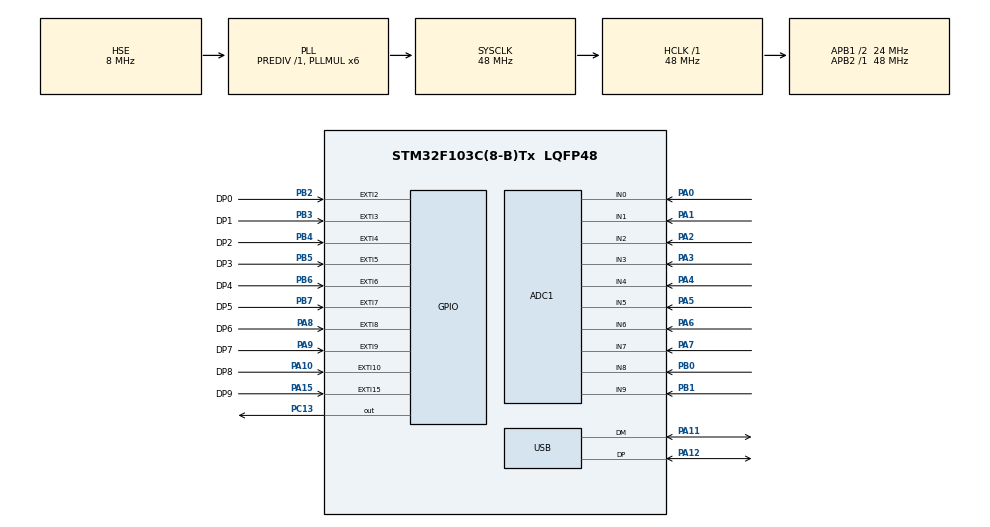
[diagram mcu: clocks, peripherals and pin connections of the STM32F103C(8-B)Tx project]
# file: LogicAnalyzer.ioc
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ADC1.Channel-10\#ChannelRegularConversion=ADC_CHANNEL_5
ADC1.Channel-11\#ChannelRegularConversion=ADC_CHANNEL_6
ADC1.Channel-12\#ChannelRegularConversion=ADC_CHANNEL_7
ADC1.Channel-13\#ChannelRegularConversion=ADC_CHANNEL_8
ADC1.Channel-14\#ChannelRegularConversion=ADC_CHANNEL_9
ADC1.Channel-5\#ChannelRegularConversion=ADC_CHANNEL_0
ADC1.Channel-6\#ChannelRegularConversion=ADC_CHANNEL_1
ADC1.Channel-7\#ChannelRegularConversion=ADC_CHANNEL_2
ADC1.Channel-8\#ChannelRegularConversion=ADC_CHANNEL_3
ADC1.Channel-9\#ChannelRegularConversion=ADC_CHANNEL_4
ADC1.ContinuousConvMode=DISABLE
ADC1.DataAlign=ADC_DATAALIGN_RIGHT
ADC1.DiscontinuousConvMode=DISABLE
ADC1.EnableAnalogWatchDog=false
ADC1.EnableRegularConversion=ENABLE
ADC1.ExternalTrigConv=ADC_SOFTWARE_START
ADC1.InjNumberOfConversion=0
ADC1.NbrOfConversion=10
ADC1.NbrOfConversionFlag=1
ADC1.Rank-10\#ChannelRegularConversion=6
ADC1.Rank-11\#ChannelRegularConversion=7
ADC1.Rank-12\#ChannelRegularConversion=8
ADC1.Rank-13\#ChannelRegularConversion=9
ADC1.Rank-14\#ChannelRegularConversion=10
ADC1.Rank-5\#ChannelRegularConversion=1
ADC1.Rank-6\#ChannelRegularConversion=2
ADC1.Rank-7\#ChannelRegularConversion=3
ADC1.Rank-8\#ChannelRegularConversion=4
ADC1.Rank-9\#ChannelRegularConversion=5
ADC1.SamplingTime-10\#ChannelRegularConversion=ADC_SAMPLETIME_7CYCLES_5
ADC1.SamplingTime-11\#ChannelRegularConversion=ADC_SAMPLETIME_1CYCLE_5
ADC1.SamplingTime-12\#ChannelRegularConversion=ADC_SAMPLETIME_1CYCLE_5
ADC1.SamplingTime-13\#ChannelRegularConversion=ADC_SAMPLETIME_1CYCLE_5
ADC1.SamplingTime-14\#ChannelRegularConversion=ADC_SAMPLETIME_1CYCLE_5
ADC1.SamplingTime-5\#ChannelRegularConversion=ADC_SAMPLETIME_7CYCLES_5
ADC1.SamplingTime-6\#ChannelRegularConversion=ADC_SAMPLETIME_7CYCLES_5
ADC1.SamplingTime-7\#ChannelRegularConversion=ADC_SAMPLETIME_7CYCLES_5
ADC1.SamplingTime-8\#ChannelRegularConversion=ADC_SAMPLETIME_7CYCLES_5
ADC1.SamplingTime-9\#ChannelRegularConversion=ADC_SAMPLETIME_7CYCLES_5
ADC1.ScanConvMode=ADC_SCAN_ENABLE
ADC1.master=1
Dma.ADC1.0.Direction=DMA_PERIPH_TO_MEMORY
Dma.ADC1.0.Instance=DMA1_Channel1
Dma.ADC1.0.MemDataAlignment=DMA_MDATAALIGN_HALFWORD
Dma.ADC1.0.MemInc=DMA_MINC_ENABLE
Dma.ADC1.0.Mode=DMA_CIRCULAR
Dma.ADC1.0.PeriphDataAlignment=DMA_PDATAALIGN_HALFWORD
Dma.ADC1.0.PeriphInc=DMA_PINC_DISABLE
Dma.ADC1.0.Priority=DMA_PRIORITY_LOW
Dma.Request0=ADC1
Mcu.Family=STM32F1
Mcu.Name=STM32F103C(8-B)Tx
Mcu.Package=LQFP48
NVIC.DMA1_Channel1_IRQn=true\:0\:0\:false\:false\:true\:false
NVIC.EXTI15_10_IRQn=true\:0\:0\:false\:false\:true\:true
NVIC.EXTI2_IRQn=true\:0\:0\:false\:false\:true\:true
NVIC.EXTI3_IRQn=true\:0\:0\:false\:false\:true\:true
NVIC.EXTI4_IRQn=true\:0\:0\:false\:false\:true\:true
NVIC.EXTI9_5_IRQn=true\:0\:0\:false\:false\:true\:true
NVIC.PriorityGroup=NVIC_PRIORITYGROUP_4
NVIC.TIM2_IRQn=true\:0\:0\:false\:false\:true\:true
NVIC.TIM3_IRQn=true\:0\:0\:false\:false\:true\:true
NVIC.USB_LP_CAN1_RX0_IRQn=true\:0\:0\:false\:false\:true\:false
PA0-WKUP.Signal=ADCx_IN0
PA1.Signal=ADCx_IN1
PA10.GPIO_Label=DP8
PA10.GPIO_ModeDefaultEXTI=GPIO_MODE_IT_RISING_FALLING
PA10.GPIO_PuPd=GPIO_PULLDOWN
PA10.Signal=GPXTI10
PA11.Mode=Device
PA11.Signal=USB_DM
PA12.Mode=Device
PA12.Signal=USB_DP
PA13.Mode=Serial_Wire
PA13.Signal=SYS_JTMS-SWDIO
PA14.Mode=Serial_Wire
PA14.Signal=SYS_JTCK-SWCLK
PA15.GPIO_Label=DP9
PA15.GPIO_ModeDefaultEXTI=GPIO_MODE_IT_RISING_FALLING
PA15.GPIO_PuPd=GPIO_PULLDOWN
PA15.Signal=GPXTI15
PA2.Signal=ADCx_IN2
PA3.Signal=ADCx_IN3
PA4.Signal=ADCx_IN4
PA5.Signal=ADCx_IN5
PA6.Signal=ADCx_IN6
PA7.Signal=ADCx_IN7
PA8.GPIO_Label=DP6
PA8.GPIO_ModeDefaultEXTI=GPIO_MODE_IT_RISING_FALLING
PA8.GPIO_PuPd=GPIO_PULLDOWN
PA8.Signal=GPXTI8
PA9.GPIO_Label=DP7
PA9.GPIO_ModeDefaultEXTI=GPIO_MODE_IT_RISING_FALLING
PA9.GPIO_PuPd=GPIO_PULLDOWN
PA9.Signal=GPXTI9
PB0.Signal=ADCx_IN8
PB1.Signal=ADCx_IN9
PB2.GPIO_Label=DP0
PB2.GPIO_ModeDefaultEXTI=GPIO_MODE_IT_RISING_FALLING
PB2.GPIO_PuPd=GPIO_PULLDOWN
PB2.Signal=GPXTI2
PB3.GPIO_Label=DP1
PB3.GPIO_ModeDefaultEXTI=GPIO_MODE_IT_RISING_FALLING
PB3.GPIO_PuPd=GPIO_PULLDOWN
PB3.Signal=GPXTI3
PB4.GPIO_Label=DP2
PB4.GPIO_ModeDefaultEXTI=GPIO_MODE_IT_RISING_FALLING
PB4.GPIO_PuPd=GPIO_PULLDOWN
PB4.Signal=GPXTI4
PB5.GPIO_Label=DP3
PB5.GPIO_ModeDefaultEXTI=GPIO_MODE_IT_RISING_FALLING
PB5.GPIO_PuPd=GPIO_PULLDOWN
PB5.Signal=GPXTI5
PB6.GPIO_Label=DP4
PB6.GPIO_ModeDefaultEXTI=GPIO_MODE_IT_RISING_FALLING
PB6.GPIO_PuPd=GPIO_PULLDOWN
PB6.Signal=GPXTI6
PB7.GPIO_Label=DP5
PB7.GPIO_ModeDefaultEXTI=GPIO_MODE_IT_RISING_FALLING
PB7.GPIO_PuPd=GPIO_PULLDOWN
PB7.Signal=GPXTI7
PC13-TAMPER-RTC.Signal=GPIO_Output
PD0-OSC_IN.Mode=HSE-External-Oscillator
PD0-OSC_IN.Signal=RCC_OSC_IN
PD1-OSC_OUT.Mode=HSE-External-Oscillator
PD1-OSC_OUT.Signal=RCC_OSC_OUT
ProjectManager.HeapSize=0x200
ProjectManager.StackSize=0x400
ProjectManager.TargetToolchain=SW4STM32
RCC.ADCPresc=RCC_ADCPCLK2_DIV4
RCC.AHBFreq_Value=48000000
RCC.APB1CLKDivider=RCC_HCLK_DIV2
RCC.APB1Freq_Value=24000000
RCC.APB1TimFreq_Value=48000000
RCC.APB2Freq_Value=48000000
RCC.APB2TimFreq_Value=48000000
RCC.HCLKFreq_Value=48000000
RCC.PLLMUL=RCC_PLL_MUL6
RCC.PLLSourceVirtual=RCC_PLLSOURCE_HSE
RCC.SYSCLKFreq_VALUE=48000000
RCC.SYSCLKSource=RCC_SYSCLKSOURCE_PLLCLK
RCC.USBFreq_Value=48000000
SH.ADCx_IN0.0=ADC1_IN0,IN0
SH.ADCx_IN1.0=ADC1_IN1,IN1
SH.ADCx_IN2.0=ADC1_IN2,IN2
SH.ADCx_IN3.0=ADC1_IN3,IN3
SH.ADCx_IN4.0=ADC1_IN4,IN4
SH.ADCx_IN5.0=ADC1_IN5,IN5
SH.ADCx_IN6.0=ADC1_IN6,IN6
SH.ADCx_IN7.0=ADC1_IN7,IN7
SH.ADCx_IN8.0=ADC1_IN8,IN8
SH.ADCx_IN9.0=ADC1_IN9,IN9
TIM2.Period=65535
TIM2.Prescaler=12
TIM3.Period=500
TIM3.Prescaler=48000
USB_DEVICE.CLASS_NAME_FS=CDC
USB_DEVICE.VirtualMode=Cdc
USB_DEVICE.VirtualModeFS=Cdc_FS
VP_TIM2_VS_ClockSourceITR.Mode=TriggerSource_ITR0
VP_TIM3_VS_ClockSourceITR.Mode=TriggerSource_ITR0
VP_USB_DEVICE_VS_USB_DEVICE_CDC_FS.Mode=CDC_FS
board=LogicAnalyzer

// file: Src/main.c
/**
  ******************************************************************************
  * @file           : main.c
  * @brief          : Main program body
  ******************************************************************************
  * This notice applies to any and all portions of this file
  * that are not between comment pairs USER CODE BEGIN and
  * USER CODE END. Other portions of this file, whether
  * inserted by the user or by software development tools
  * are owned by their respective copyright owners.
  *
  * Copyright (c) 2018 STMicroelectronics International N.V.
  * All rights reserved.
  *
  * Redistribution and use in source and binary forms, with or without
  * modification, are permitted, provided that the following conditions are met:
  *
  * 1. Redistribution of source code must retain the above copyright notice,
  *    this list of conditions and the following disclaimer.
  * 2. Redistributions in binary form must reproduce the above copyright notice,
  *    this list of conditions and the following disclaimer in the documentation
  *    and/or other materials provided with the distribution.
  * 3. Neither the name of STMicroelectronics nor the names of other
  *    contributors to this software may be used to endorse or promote products
  *    derived from this software without specific written permission.
  * 4. This software, including modifications and/or derivative works of this
  *    software, must execute solely and exclusively on microcontroller or
  *    microprocessor devices manufactured by or for STMicroelectronics.
  * 5. Redistribution and use of this software other than as permitted under
  *    this license is void and will automatically terminate your rights under
  *    this license.
  *
  * THIS SOFTWARE IS PROVIDED BY STMICROELECTRONICS AND CONTRIBUTORS "AS IS"
  * AND ANY EXPRESS, IMPLIED OR STATUTORY WARRANTIES, INCLUDING, BUT NOT
  * LIMITED TO, THE IMPLIED WARRANTIES OF MERCHANTABILITY, FITNESS FOR A
  * PARTICULAR PURPOSE AND NON-INFRINGEMENT OF THIRD PARTY INTELLECTUAL PROPERTY
  * RIGHTS ARE DISCLAIMED TO THE FULLEST EXTENT PERMITTED BY LAW. IN NO EVENT
  * SHALL STMICROELECTRONICS OR CONTRIBUTORS BE LIABLE FOR ANY DIRECT, INDIRECT,
  * INCIDENTAL, SPECIAL, EXEMPLARY, OR CONSEQUENTIAL DAMAGES (INCLUDING, BUT NOT
  * LIMITED TO, PROCUREMENT OF SUBSTITUTE GOODS OR SERVICES; LOSS OF USE, DATA,
  * OR PROFITS; OR BUSINESS INTERRUPTION) HOWEVER CAUSED AND ON ANY THEORY OF
  * LIABILITY, WHETHER IN CONTRACT, STRICT LIABILITY, OR TORT (INCLUDING
  * NEGLIGENCE OR OTHERWISE) ARISING IN ANY WAY OUT OF THE USE OF THIS SOFTWARE,
  * EVEN IF ADVISED OF THE POSSIBILITY OF SUCH DAMAGE.
  *
  ******************************************************************************
  */
#include "main.h"
#include "stm32f1xx_hal.h"
#include "usb_device.h"

/* USER CODE BEGIN Includes */
#include <stdio.h>
#include "stm32_hal_legacy.h"
#include "FunctionHeaderSTM.h"
/* USER CODE END Includes */

ADC_HandleTypeDef hadc1;
DMA_HandleTypeDef hdma_adc1;

TIM_HandleTypeDef htim2;
TIM_HandleTypeDef htim3;

/* USER CODE BEGIN PV */
/* Private variables ---------------------------------------------------------*/

/* USER CODE END PV */

void SystemClock_Config(void);
static void MX_GPIO_Init(void);
static void MX_DMA_Init(void);
static void MX_ADC1_Init(void);
static void MX_TIM3_Init(void);
static void MX_TIM2_Init(void);

/* USER CODE BEGIN PFP */
/* Private function prototypes -----------------------------------------------*/
extern void initialise_monitor_handles(void);
extern uint16_t ReadGpioxIDR(char choose);
extern uint16_t GetCurrentCounterTim2();
/* USER CODE END PFP */

int main(void)
{
  /* USER CODE BEGIN 1 */
	initialise_monitor_handles();
  /* USER CODE END 1 */

  /* MCU Configuration----------------------------------------------------------*/

  /* Reset of all peripherals, Initializes the Flash interface and the Systick. */
  HAL_Init();

  /* Configure the system clock */
  SystemClock_Config();

  /* Initialize all configured peripherals */
  MX_GPIO_Init();
  MX_DMA_Init();
  MX_ADC1_Init();
//  MX_TIM3_Init();
  MX_TIM2_Init();
  MX_USB_DEVICE_Init();

  /* Infinite loop */
  /* USER CODE BEGIN WHILE */
  	HAL_TIM_Base_Start_IT(&htim2);
//  	HAL_TIM_Base_Start_IT(&htim3);
  	log("%s","Testing!!!\n");
  	stateMachine_State=STATE_IDLE;
  	int a=1;
  	int counter=0;
//  	setTimer3();
  while (1)
  {
	  InterpretCommand();

  /* USER CODE END WHILE */

  }

}

void SystemClock_Config(void)
{

  RCC_OscInitTypeDef RCC_OscInitStruct;
  RCC_ClkInitTypeDef RCC_ClkInitStruct;
  RCC_PeriphCLKInitTypeDef PeriphClkInit;

    /**Initializes the CPU, AHB and APB busses clocks
    */
  RCC_OscInitStruct.OscillatorType = RCC_OSCILLATORTYPE_HSE;
  RCC_OscInitStruct.HSEState = RCC_HSE_ON;
  RCC_OscInitStruct.HSEPredivValue = RCC_HSE_PREDIV_DIV1;
  RCC_OscInitStruct.HSIState = RCC_HSI_ON;
  RCC_OscInitStruct.PLL.PLLState = RCC_PLL_ON;
  RCC_OscInitStruct.PLL.PLLSource = RCC_PLLSOURCE_HSE;
  RCC_OscInitStruct.PLL.PLLMUL = RCC_PLL_MUL6;
  if (HAL_RCC_OscConfig(&RCC_OscInitStruct) != HAL_OK)
  {
    _Error_Handler(__FILE__, __LINE__);
  }

    /**Initializes the CPU, AHB and APB busses clocks
    */
  RCC_ClkInitStruct.ClockType = RCC_CLOCKTYPE_HCLK|RCC_CLOCKTYPE_SYSCLK
                              |RCC_CLOCKTYPE_PCLK1|RCC_CLOCKTYPE_PCLK2;
  RCC_ClkInitStruct.SYSCLKSource = RCC_SYSCLKSOURCE_PLLCLK;
  RCC_ClkInitStruct.AHBCLKDivider = RCC_SYSCLK_DIV1;
  RCC_ClkInitStruct.APB1CLKDivider = RCC_HCLK_DIV2;
  RCC_ClkInitStruct.APB2CLKDivider = RCC_HCLK_DIV1;

  if (HAL_RCC_ClockConfig(&RCC_ClkInitStruct, FLASH_LATENCY_1) != HAL_OK)
  {
    _Error_Handler(__FILE__, __LINE__);
  }

  PeriphClkInit.PeriphClockSelection = RCC_PERIPHCLK_ADC|RCC_PERIPHCLK_USB;
  PeriphClkInit.AdcClockSelection = RCC_ADCPCLK2_DIV4;
  PeriphClkInit.UsbClockSelection = RCC_USBCLKSOURCE_PLL;
  if (HAL_RCCEx_PeriphCLKConfig(&PeriphClkInit) != HAL_OK)
  {
    _Error_Handler(__FILE__, __LINE__);
  }

    /**Configure the Systick interrupt time
    */
  HAL_SYSTICK_Config(HAL_RCC_GetHCLKFreq()/1000);

    /**Configure the Systick
    */
  HAL_SYSTICK_CLKSourceConfig(SYSTICK_CLKSOURCE_HCLK);

  /* SysTick_IRQn interrupt configuration */
  HAL_NVIC_SetPriority(SysTick_IRQn, 0, 0);
}

/* ADC1 init function */
static void MX_ADC1_Init(void)
{

  ADC_ChannelConfTypeDef sConfig;

    /**Common config
    */
  hadc1.Instance = ADC1;
  hadc1.Init.ScanConvMode = ADC_SCAN_ENABLE;
  hadc1.Init.ContinuousConvMode = DISABLE;
  hadc1.Init.DiscontinuousConvMode = DISABLE;
  hadc1.Init.ExternalTrigConv = ADC_SOFTWARE_START;
  hadc1.Init.DataAlign = ADC_DATAALIGN_RIGHT;
  hadc1.Init.NbrOfConversion = 10;
  if (HAL_ADC_Init(&hadc1) != HAL_OK)
  {
    _Error_Handler(__FILE__, __LINE__);
  }

    /**Configure Regular Channel
    */
  sConfig.Channel = ADC_CHANNEL_0;
  sConfig.Rank = ADC_REGULAR_RANK_1;
  sConfig.SamplingTime = ADC_SAMPLETIME_7CYCLES_5;
  if (HAL_ADC_ConfigChannel(&hadc1, &sConfig) != HAL_OK)
  {
    _Error_Handler(__FILE__, __LINE__);
  }

    /**Configure Regular Channel
    */
  sConfig.Channel = ADC_CHANNEL_1;
  sConfig.Rank = ADC_REGULAR_RANK_2;
  if (HAL_ADC_ConfigChannel(&hadc1, &sConfig) != HAL_OK)
  {
    _Error_Handler(__FILE__, __LINE__);
  }

    /**Configure Regular Channel
    */
  sConfig.Channel = ADC_CHANNEL_2;
  sConfig.Rank = ADC_REGULAR_RANK_3;
  if (HAL_ADC_ConfigChannel(&hadc1, &sConfig) != HAL_OK)
  {
    _Error_Handler(__FILE__, __LINE__);
  }

    /**Configure Regular Channel
    */
  sConfig.Channel = ADC_CHANNEL_3;
  sConfig.Rank = ADC_REGULAR_RANK_4;
  if (HAL_ADC_ConfigChannel(&hadc1, &sConfig) != HAL_OK)
  {
    _Error_Handler(__FILE__, __LINE__);
  }

    /**Configure Regular Channel
    */
  sConfig.Channel = ADC_CHANNEL_4;
  sConfig.Rank = ADC_REGULAR_RANK_5;
  if (HAL_ADC_ConfigChannel(&hadc1, &sConfig) != HAL_OK)
  {
    _Error_Handler(__FILE__, __LINE__);
  }

    /**Configure Regular Channel
    */
  sConfig.Channel = ADC_CHANNEL_5;
  sConfig.Rank = ADC_REGULAR_RANK_6;
  if (HAL_ADC_ConfigChannel(&hadc1, &sConfig) != HAL_OK)
  {
    _Error_Handler(__FILE__, __LINE__);
  }

    /**Configure Regular Channel
    */
  sConfig.Channel = ADC_CHANNEL_6;
  sConfig.Rank = ADC_REGULAR_RANK_7;
  sConfig.SamplingTime = ADC_SAMPLETIME_1CYCLE_5;
  if (HAL_ADC_ConfigChannel(&hadc1, &sConfig) != HAL_OK)
  {
    _Error_Handler(__FILE__, __LINE__);
  }

    /**Configure Regular Channel
    */
  sConfig.Channel = ADC_CHANNEL_7;
  sConfig.Rank = ADC_REGULAR_RANK_8;
  if (HAL_ADC_ConfigChannel(&hadc1, &sConfig) != HAL_OK)
  {
    _Error_Handler(__FILE__, __LINE__);
  }

    /**Configure Regular Channel
    */
  sConfig.Channel = ADC_CHANNEL_8;
  sConfig.Rank = ADC_REGULAR_RANK_9;
  if (HAL_ADC_ConfigChannel(&hadc1, &sConfig) != HAL_OK)
  {
    _Error_Handler(__FILE__, __LINE__);
  }

    /**Configure Regular Channel
    */
  sConfig.Channel = ADC_CHANNEL_9;
  sConfig.Rank = ADC_REGULAR_RANK_10;
  if (HAL_ADC_ConfigChannel(&hadc1, &sConfig) != HAL_OK)
  {
    _Error_Handler(__FILE__, __LINE__);
  }

}

/* TIM2 init function */
static void MX_TIM2_Init(void)
{
  TIM_SlaveConfigTypeDef sSlaveConfig;
  TIM_MasterConfigTypeDef sMasterConfig;

  htim2.Instance = TIM2;
  htim2.Init.Prescaler = 12;
  htim2.Init.CounterMode = TIM_COUNTERMODE_UP;
  htim2.Init.Period = 65535;
  htim2.Init.ClockDivision = TIM_CLOCKDIVISION_DIV1;
  htim2.Init.AutoReloadPreload = TIM_AUTORELOAD_PRELOAD_DISABLE;
  if (HAL_TIM_Base_Init(&htim2) != HAL_OK)
  {
    _Error_Handler(__FILE__, __LINE__);
  }

  sSlaveConfig.SlaveMode = TIM_SLAVEMODE_DISABLE;
  sSlaveConfig.InputTrigger = TIM_TS_ITR0;
  if (HAL_TIM_SlaveConfigSynchronization(&htim2, &sSlaveConfig) != HAL_OK)
  {
    _Error_Handler(__FILE__, __LINE__);
  }

  sMasterConfig.MasterOutputTrigger = TIM_TRGO_RESET;
  sMasterConfig.MasterSlaveMode = TIM_MASTERSLAVEMODE_DISABLE;
  if (HAL_TIMEx_MasterConfigSynchronization(&htim2, &sMasterConfig) != HAL_OK)
  {
    _Error_Handler(__FILE__, __LINE__);
  }

}

/* TIM3 init function */
static void MX_TIM3_Init(void)
{

  TIM_SlaveConfigTypeDef sSlaveConfig;
  TIM_MasterConfigTypeDef sMasterConfig;

  htim3.Instance = TIM3;
  htim3.Init.Prescaler = 48000;
  htim3.Init.CounterMode = TIM_COUNTERMODE_UP;
  htim3.Init.Period = analogPeriod;
  htim3.Init.ClockDivision = TIM_CLOCKDIVISION_DIV1;
  htim3.Init.AutoReloadPreload = TIM_AUTORELOAD_PRELOAD_DISABLE;
  if (HAL_TIM_Base_Init(&htim3) != HAL_OK)
  {
    _Error_Handler(__FILE__, __LINE__);
  }

  sSlaveConfig.SlaveMode = TIM_SLAVEMODE_DISABLE;
  sSlaveConfig.InputTrigger = TIM_TS_ITR0;
  if (HAL_TIM_SlaveConfigSynchronization(&htim3, &sSlaveConfig) != HAL_OK)
  {
    _Error_Handler(__FILE__, __LINE__);
  }

  sMasterConfig.MasterOutputTrigger = TIM_TRGO_RESET;
  sMasterConfig.MasterSlaveMode = TIM_MASTERSLAVEMODE_DISABLE;
  if (HAL_TIMEx_MasterConfigSynchronization(&htim3, &sMasterConfig) != HAL_OK)
  {
    _Error_Handler(__FILE__, __LINE__);
  }

}

static void MX_DMA_Init(void)
{
  /* DMA controller clock enable */
  __HAL_RCC_DMA1_CLK_ENABLE();

  /* DMA interrupt init */
  /* DMA1_Channel1_IRQn interrupt configuration */
  HAL_NVIC_SetPriority(DMA1_Channel1_IRQn, 0, 0);
  HAL_NVIC_EnableIRQ(DMA1_Channel1_IRQn);

}

/** Configure pins as
        * Analog
        * Input
        * Output
        * EVENT_OUT
        * EXTI
*/
static void MX_GPIO_Init(void)
{

  GPIO_InitTypeDef GPIO_InitStruct;

  /* GPIO Ports Clock Enable */
  __HAL_RCC_GPIOC_CLK_ENABLE();
  __HAL_RCC_GPIOD_CLK_ENABLE();
  __HAL_RCC_GPIOA_CLK_ENABLE();
  __HAL_RCC_GPIOB_CLK_ENABLE();

  /*Configure GPIO pin Output Level */
  HAL_GPIO_WritePin(GPIOC, GPIO_PIN_13, GPIO_PIN_RESET);

  /*Configure GPIO pin : PC13 */
  GPIO_InitStruct.Pin = GPIO_PIN_13;
  GPIO_InitStruct.Mode = GPIO_MODE_OUTPUT_PP;
  GPIO_InitStruct.Pull = GPIO_NOPULL;
  GPIO_InitStruct.Speed = GPIO_SPEED_FREQ_LOW;
  HAL_GPIO_Init(GPIOC, &GPIO_InitStruct);

  /*Configure GPIO pins : DP0_Pin DP1_Pin DP2_Pin DP3_Pin
                           DP4_Pin DP5_Pin */
  GPIO_InitStruct.Pin = DP0_Pin|DP1_Pin|DP2_Pin|DP3_Pin
                          |DP4_Pin|DP5_Pin;
  GPIO_InitStruct.Mode = GPIO_MODE_IT_RISING_FALLING;
  GPIO_InitStruct.Pull = GPIO_PULLDOWN;
  HAL_GPIO_Init(GPIOB, &GPIO_InitStruct);

  /*Configure GPIO pins : DP6_Pin DP7_Pin DP8_Pin DP9_Pin */
  GPIO_InitStruct.Pin = DP6_Pin|DP7_Pin|DP8_Pin|DP9_Pin;
  GPIO_InitStruct.Mode = GPIO_MODE_IT_RISING_FALLING;
  GPIO_InitStruct.Pull = GPIO_PULLDOWN;
  HAL_GPIO_Init(GPIOA, &GPIO_InitStruct);

  /* EXTI interrupt init*/
  HAL_NVIC_SetPriority(EXTI2_IRQn, 0, 0);
  HAL_NVIC_EnableIRQ(EXTI2_IRQn);

  HAL_NVIC_SetPriority(EXTI3_IRQn, 0, 0);
  HAL_NVIC_EnableIRQ(EXTI3_IRQn);

  HAL_NVIC_SetPriority(EXTI4_IRQn, 0, 0);
  HAL_NVIC_EnableIRQ(EXTI4_IRQn);

  HAL_NVIC_SetPriority(EXTI9_5_IRQn, 0, 0);
  HAL_NVIC_EnableIRQ(EXTI9_5_IRQn);

  HAL_NVIC_SetPriority(EXTI15_10_IRQn, 0, 0);
  HAL_NVIC_EnableIRQ(EXTI15_10_IRQn);

}

/* USER CODE BEGIN 4 */
void HAL_ADC_ConvCpltCallback(ADC_HandleTypeDef* hadc)
{
	for (int i =0; i<10; i++)
	{
	   adc[i] = buffer[i];  // store the values in adc[]
	}
}
void setTimer3(){
	MX_TIM3_Init();
	HAL_TIM_Base_Start_IT(&htim3);
}
uint16_t GetCurrentCounterTim2(){
	return __HAL_TIM_GetCounter(&htim2);
}
uint16_t ReadGpioxIDR(char choose){
	if(choose==A)
		return GPIOA->IDR;
	else if(choose==B)
		return GPIOB->IDR;
}
/* USER CODE END 4 */

void _Error_Handler(char *file, int line)
{
  while(1)
  {
  }
}

/************************ (C) COPYRIGHT STMicroelectronics *****END OF FILE****/
